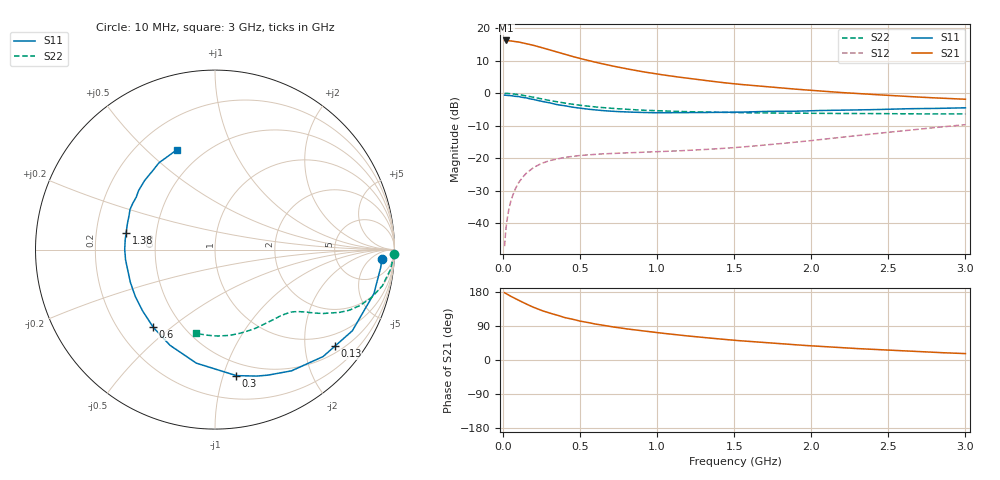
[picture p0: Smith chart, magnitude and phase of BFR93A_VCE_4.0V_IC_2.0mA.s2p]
! Infineon Technologies  Discrete & RF Semiconductors
! BFR93A
! VCE =  4.0 V,  IC =  2.0 mA
! Common Emitter S-Parameters:  Nov 2015
# GHz  S  MA  R  50
!  f  S11  S21  S12  S22
! GHz  MAG  ANG  MAG  ANG  MAG  ANG  MAG  ANG
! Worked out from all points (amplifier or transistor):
!   180 points, 10 MHz to 3 GHz, reference 50 ohm
!   highest |S21| = 16.2 dB at 20 MHz (marker M1)
!   |S21| within 3 dB of that: start of sweep to 309.4 MHz
!   unconditionally stable (mu >= 1): 986.9 MHz to 2.663 GHz
!   at 160 MHz: K = 0.19, MSG = 19.7 dB, |S12| = -24.3 dB
!   at 1.22 GHz: K = 1.12, MAG = 8.9 dB, |S12| = -17.6 dB
!   at 3 GHz: K = 0.94, MSG = 3.9 dB, |S12| = -9.7 dB
!   S11 on the Smith chart (normalised r, x): 10 MHz: 17, -14; 130 MHz: 0.66, -2.69; 300 MHz: 0.39, -1.11; 600 MHz: 0.35, -0.43; 1.38 GHz: 0.33, +0.08; 3 GHz: 0.36, +0.62
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0.01  0.9319 -3.2  6.467 177.5  0.0044 88.5  0.9953 -1.3
0.02  0.9285 -6.2  6.483 175.2  0.0087 86.2  0.9944 -2.5
0.035  0.9206 -10.8  6.426 171.7  0.0151 82.8  0.9889 -4.4
0.055  0.913 -17.0  6.36 167.2  0.0236 80.0  0.9811 -7.0
0.1  0.8889 -30.6  6.153 157.8  0.0415 73.0  0.9541 -12.2
0.13  0.8576 -38.9  5.921 151.8  0.0515 67.7  0.9265 -15.2
0.15  0.8472 -44.7  5.805 147.5  0.0583 65.2  0.9096 -17.3
0.2  0.7989 -57.7  5.433 138.7  0.072 59.4  0.8628 -21.3
0.24  0.7588 -67.2  5.11 132.2  0.0807 54.7  0.825 -24.0
0.3  0.7121 -80.4  4.662 123.9  0.0911 49.8  0.7728 -27.0
0.4  0.6413 -99.3  3.965 112.0  0.1026 43.6  0.7016 -30.5
0.5  0.5892 -115.2  3.419 102.6  0.1097 39.7  0.6491 -32.9
0.52  0.5795 -117.7  3.329 101.2  0.1106 39.3  0.6417 -33.2
0.6  0.5529 -128.5  2.991 94.8  0.1145 37.7  0.6122 -34.6
0.7  0.5283 -139.9  2.649 88.0  0.1179 36.7  0.5845 -36.2
0.8  0.5151 -149.6  2.377 82.2  0.1202 36.8  0.5644 -37.8
1.02  0.4993 -167.9  1.938 71.3  0.1256 38.6  0.5343 -41.7
1.38  0.5041 169.4  1.498 56.5  0.1387 44.7  0.5091 -49.6
1.52  0.5098 162.6  1.378 51.4  0.1462 47.5  0.5021 -53.4
2.02  0.5387 141.6  1.096 36.8  0.1884 55.2  0.4888 -67.8
2.52  0.5674 125.5  0.919 25.6  0.2525 56.6  0.4826 -84.6
3  0.595 111.0  0.806 16.9  0.3271 53.5  0.4789 -103.1
